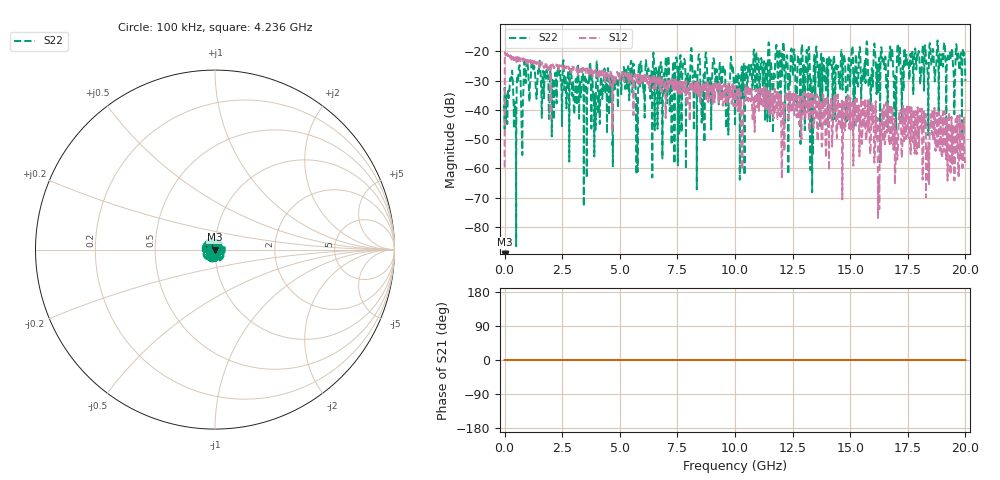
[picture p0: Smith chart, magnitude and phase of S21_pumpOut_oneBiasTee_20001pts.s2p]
# Hz S DB R 50
! CMT, C4420, 18068703, 18.2.2/3
! Date: 4/9/2026 10:16:23 AM
! Data: Format (Calibration Info)
! Freq  S33: dB/Ang  S43: dB/Ang  S34: dB/Ang  S44: dB/Ang
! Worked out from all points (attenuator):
!   20001 points, 100 kHz to 20 GHz, reference 50 ohm
!   highest |S21| = - dB at 100 kHz (marker M1); lowest = - dB at 100 kHz (marker M2)
!   lowest |S11| = - dB at 100 kHz (marker M3), VSWR 1.00, Z = 50 + j0 ohm
!   |S11| at or under -10 dB: start of sweep to end of sweep
!   |S22| runs from -86.5 to -16.3 dB; largest |S21 - S12| = 0.096
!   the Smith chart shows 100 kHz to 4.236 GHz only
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100000  -200.00 0.0  -200.00 0.0  -59.61 55.9  -37.89 -70.6
1.080995e8  -200.00 0.0  -200.00 0.0  -20.92 -155.2  -42.14 -167.2
7.700962e8  -200.00 0.0  -200.00 0.0  -22.68 -136.6  -54.27 -107.3
9.300954e8  -200.00 0.0  -200.00 0.0  -23.21 -161.9  -28.54 29.7
3.334083e9  -200.00 0.0  -200.00 0.0  -26.34 -148.8  -30.42 -43.0
6.667067e9  -200.00 0.0  -200.00 0.0  -30.86 98.0  -26.47 104.5
1.000005e10  -200.00 0.0  -200.00 0.0  -33.79 -38.3  -45.30 -122.7
1.029405e10  -200.00 0.0  -200.00 0.0  -53.35 -134.3  -25.17 -113.8
1.048205e10  -200.00 0.0  -200.00 0.0  -35.83 -90.6  -27.05 37.0
1.204604e10  -200.00 0.0  -200.00 0.0  -59.59 94.2  -28.31 147.0
1.250604e10  -200.00 0.0  -200.00 0.0  -40.00 -81.5  -28.12 68.5
1.315503e10  -200.00 0.0  -200.00 0.0  -40.75 102.3  -33.21 -68.9
1.333403e10  -200.00 0.0  -200.00 0.0  -41.41 -133.4  -35.78 -10.2
1.350803e10  -200.00 0.0  -200.00 0.0  -42.59 39.9  -20.78 94.0
1.528002e10  -200.00 0.0  -200.00 0.0  -38.12 67.2  -26.54 -136.1
1.624502e10  -200.00 0.0  -200.00 0.0  -64.87 -4.9  -24.13 7.5
1.666702e10  -200.00 0.0  -200.00 0.0  -46.97 48.4  -22.21 -67.0
1.697002e10  -200.00 0.0  -200.00 0.0  -57.91 9.9  -31.99 -47.7
1.801801e10  -200.00 0.0  -200.00 0.0  -42.35 -138.0  -26.12 -173.6
1.838201e10  -200.00 0.0  -200.00 0.0  -61.48 143.8  -34.70 -41.8
1.856901e10  -200.00 0.0  -200.00 0.0  -42.21 81.4  -20.64 -132.9
2e10  -200.00 0.0  -200.00 0.0  -56.63 4.2  -30.14 136.9
